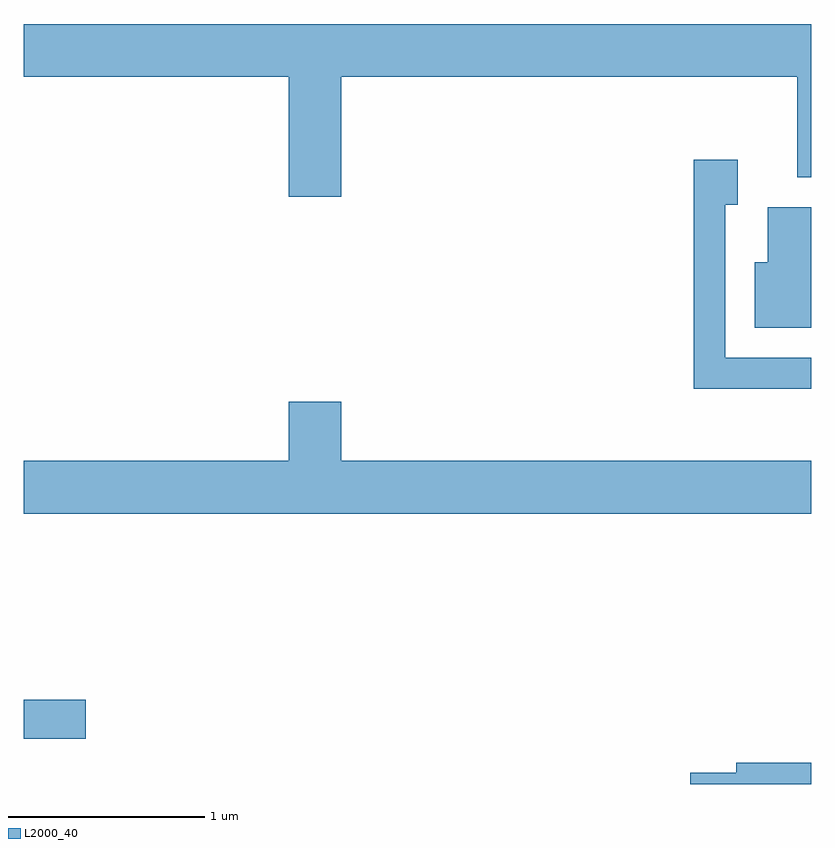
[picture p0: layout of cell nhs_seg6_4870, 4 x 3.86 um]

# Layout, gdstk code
import gdstk
lib = gdstk.Library(unit=1e-6, precision=1e-09)
def R(c, l, rs):  # rectangles x0, y0, x1, y1
    for r in rs: c.add(gdstk.rectangle(r[:2], r[2:], *l))
def P(c, l, *ps):  # polygons
    for p in ps: c.add(gdstk.Polygon(p, *l))
L2000_40 = (2000, 40)

nhs_seg6_4870 = lib.new_cell('nhs_seg6_4870')
R(nhs_seg6_4870, L2000_40, [(333.611,1604.391,333.924,1604.589)])
P(nhs_seg6_4870, L2000_40, [(335.224,1607.756),(337.541,1607.756),(337.541,1607.246),(337.611,1607.246),(337.611,1608.024),(333.611,1608.024),(333.611,1607.756),(334.956,1607.756),(334.956,1607.146),(335.224,1607.146)],
  [(337.611,1606.329),(337.174,1606.329),(337.174,1607.106),(337.239,1607.106),(337.239,1607.334),(337.016,1607.334),(337.016,1606.171),(337.611,1606.171)],
  [(337.611,1607.094),(337.391,1607.094),(337.391,1606.814),(337.326,1606.814),(337.326,1606.481),(337.611,1606.481)],
  [(337.611,1605.804),(335.224,1605.804),(335.224,1606.104),(334.956,1606.104),(334.956,1605.804),(333.611,1605.804),(333.611,1605.536),(337.611,1605.536)],
  [(337.611,1604.269),(337.231,1604.269),(337.231,1604.219),(336.996,1604.219),(336.996,1604.162),(337.611,1604.162)])

lib.write_gds('nhs_seg6_4870.gds')
